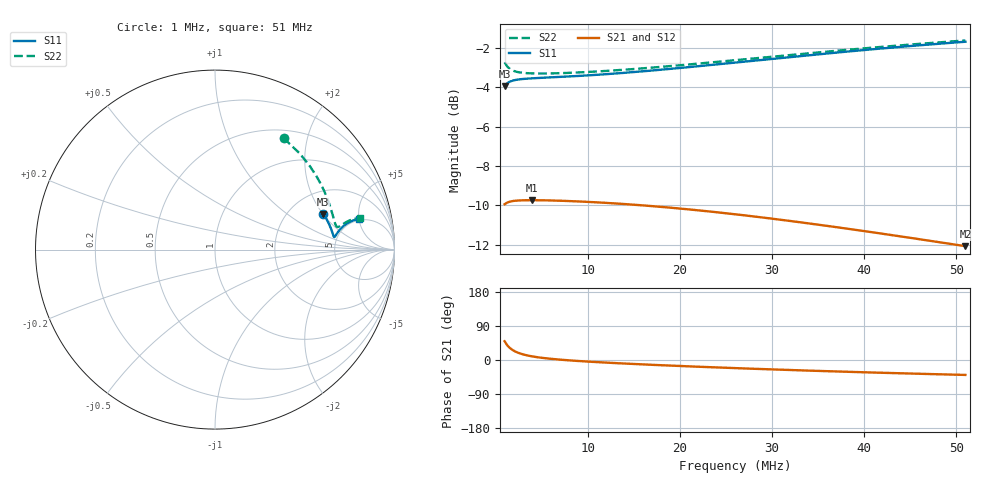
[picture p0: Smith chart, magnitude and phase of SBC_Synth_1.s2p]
# MHz S RI R 50
! S-Parameters data
! Freq  reS11  imS11  reS21  imS21  reS12  imS12  reS22  imS22
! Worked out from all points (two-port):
!   201 points, 1 MHz to 51 MHz, reference 50 ohm
!   highest |S21| = -9.73 dB at 4 MHz (marker M1); lowest = -12.1 dB at 51 MHz (marker M2)
!   |S21| within 3 dB of the highest: start of sweep to end of sweep
!   lowest |S11| = -3.9 dB at 1 MHz (marker M3), VSWR 4.48, Z = 152 + j101 ohm
!   |S11| at or under -10 dB: nowhere
!   |S22| runs from -3.3 to -1.6 dB; largest |S21 - S12| = 0
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1  0.6032 0.1985  0.2067 0.242  0.2067 0.242  0.3821 0.6214
1.25  0.6223 0.168  0.2462 0.2063  0.2462 0.2063  0.4734 0.5341
1.5  0.6338 0.146  0.2701 0.177  0.2701 0.177  0.5286 0.465
1.75  0.6411 0.1296  0.2854 0.1533  0.2854 0.1533  0.5642 0.4107
2  0.6462 0.1171  0.2957 0.134  0.2957 0.134  0.5882 0.3676
2.25  0.6497 0.1074  0.3029 0.1181  0.3029 0.1181  0.6052 0.3329
2.5  0.6523 0.0998  0.3082 0.1047  0.3082 0.1047  0.6176 0.3046
2.75  0.6544 0.0937  0.3121 0.0932  0.3121 0.0932  0.627 0.2811
3.25  0.6572 0.0848  0.3173 0.0746  0.3173 0.0746  0.6399 0.2447
3.5  0.6583 0.0816  0.3191 0.0668  0.3191 0.0668  0.6445 0.2305
4  0.66 0.0768  0.3216 0.0537  0.3216 0.0537  0.6514 0.2075
4.5  0.6613 0.0736  0.3232 0.0427  0.3232 0.0427  0.6564 0.1901
5  0.6624 0.0716  0.3241 0.0334  0.3241 0.0334  0.6601 0.1765
6.25  0.6647 0.0698  0.3251 0.0146  0.3251 0.0146  0.6664 0.1537
7.75  0.6673 0.0712  0.3245 -0.00281  0.3245 -0.00281  0.6714 0.1386
9.5  0.6704 0.0752  0.3227 -0.0192  0.3227 -0.0192  0.676 0.1299
12.75  0.6771 0.0859  0.3172 -0.0437  0.3172 -0.0437  0.6839 0.1259
17.75  0.69 0.1042  0.3052 -0.0733  0.3052 -0.0733  0.6973 0.1319
26  0.7163 0.1316  0.2795 -0.1097  0.2795 -0.1097  0.7234 0.1489
34.5  0.7469 0.1522  0.2495 -0.135  0.2495 -0.135  0.7534 0.1638
42.75  0.7768 0.1646  0.2201 -0.1501  0.2201 -0.1501  0.7825 0.1728
51  0.8047 0.1707  0.1926 -0.1581  0.1926 -0.1581  0.8098 0.1768
